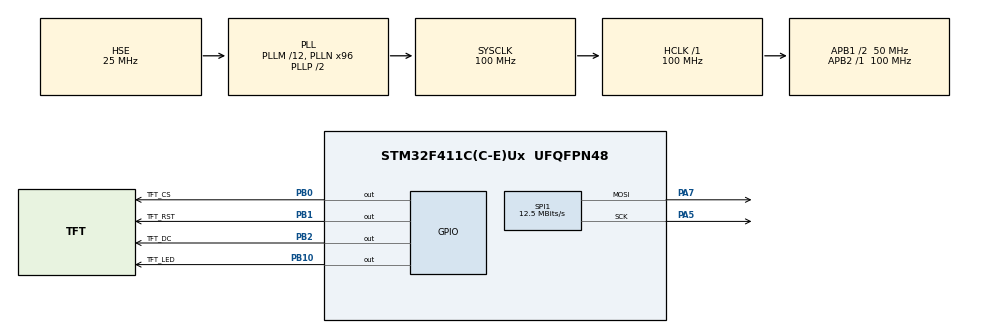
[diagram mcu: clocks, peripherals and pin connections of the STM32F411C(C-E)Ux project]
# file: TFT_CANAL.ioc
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Mcu.Family=STM32F4
Mcu.Name=STM32F411C(C-E)Ux
Mcu.Package=UFQFPN48
NVIC.PriorityGroup=NVIC_PRIORITYGROUP_4
PA5.Mode=TX_Only_Simplex_Unidirect_Master
PA5.Signal=SPI1_SCK
PA7.Mode=TX_Only_Simplex_Unidirect_Master
PA7.Signal=SPI1_MOSI
PB0.GPIO_Label=TFT_CS
PB0.Signal=GPIO_Output
PB1.GPIO_Label=TFT_RST
PB1.Signal=GPIO_Output
PB10.GPIO_Label=TFT_LED
PB10.PinState=GPIO_PIN_SET
PB10.Signal=GPIO_Output
PB2.GPIO_Label=TFT_DC
PB2.Signal=GPIO_Output
PH0\ -\ OSC_IN.Mode=HSE-External-Oscillator
PH0\ -\ OSC_IN.Signal=RCC_OSC_IN
PH1\ -\ OSC_OUT.Mode=HSE-External-Oscillator
PH1\ -\ OSC_OUT.Signal=RCC_OSC_OUT
ProjectManager.HeapSize=0x200
ProjectManager.StackSize=0x400
ProjectManager.TargetToolchain=STM32CubeIDE
RCC.48MHZClocksFreq_Value=50000000
RCC.AHBFreq_Value=100000000
RCC.APB1CLKDivider=RCC_HCLK_DIV2
RCC.APB1Freq_Value=50000000
RCC.APB1TimFreq_Value=100000000
RCC.APB2Freq_Value=100000000
RCC.APB2TimFreq_Value=100000000
RCC.CortexFreq_Value=100000000
RCC.HCLKFreq_Value=100000000
RCC.HSE_VALUE=25000000
RCC.HSI_VALUE=16000000
RCC.LSE_VALUE=32768
RCC.PLLM=12
RCC.PLLN=96
RCC.PLLSourceVirtual=RCC_PLLSOURCE_HSE
RCC.SYSCLKFreq_VALUE=100000000
RCC.SYSCLKSource=RCC_SYSCLKSOURCE_PLLCLK
RCC.VCOOutputFreq_Value=200000000
SPI1.BaudRatePrescaler=SPI_BAUDRATEPRESCALER_8
SPI1.CalculateBaudRate=12.5 MBits/s
SPI1.Direction=SPI_DIRECTION_2LINES
SPI1.Mode=SPI_MODE_MASTER
SPI1.VirtualType=VM_MASTER
board=custom

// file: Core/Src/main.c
/* USER CODE BEGIN Header */
/**
  ******************************************************************************
  * @file           : main.c
  * @brief          : Main program body
  ******************************************************************************
  * @attention
  *
  * Copyright (c) 2025 STMicroelectronics.
  * All rights reserved.
  *
  * This software is licensed under terms that can be found in the LICENSE file
  * in the root directory of this software component.
  * If no LICENSE file comes with this software, it is provided AS-IS.
  *
  ******************************************************************************
  */
/* USER CODE END Header */
#include "main.h"

/* USER CODE BEGIN Includes */
#include "ili9488.h"
#include "fonts.h"
#include "imagenes.h"
#include "DASHBOARD.h"

#include "stdio.h"
#include "stdlib.h"
#include "stdint.h"
#include "string.h"

/* USER CODE END Includes */

SPI_HandleTypeDef hspi1;

/* USER CODE BEGIN PV */
float temp=10.5;
float velo=0;
/* USER CODE END PV */

void SystemClock_Config(void);
static void MX_GPIO_Init(void);
static void MX_SPI1_Init(void);

int main(void)
{

  /* MCU Configuration--------------------------------------------------------*/

  /* Reset of all peripherals, Initializes the Flash interface and the Systick. */
  HAL_Init();

  /* Configure the system clock */
  SystemClock_Config();

  /* Initialize all configured peripherals */
  MX_GPIO_Init();
  MX_SPI1_Init();
  /* USER CODE BEGIN 2 */

   ILI9488_Init();
   setRotation(horizontal);
   fillScreen(COLOR_BLUE);

   draw_string(50, 0, "SUSCRIBANSE", COLOR_WHITE, font2);
   draw_string(20, 100, "AL CANAL", COLOR_RED, font4);
   draw_string_fondo(0, 200, "ALCIDES", COLOR_WHITE,COLOR_BLACK, font5);
//   HAL_Delay(2000);
//   	draw_line(0, 0,100,100, COLOR_BLUEVIOLET,3);
//	HAL_Delay(3000);
//   	fillScreen(COLOR_WHITE);
//
//     draw_fill_rectangle(0,0, 100, 100, COLOR_BLUEVIOLET);
// 	HAL_Delay(3000);
//     fillScreen(COLOR_WHITE);
//
//     draw_rectangle(0,0, 100, 100, COLOR_BLUEVIOLET,3);
// 	HAL_Delay(3000);
//     fillScreen(COLOR_WHITE);
//
//       draw_fill_triangulo(100, 0,50,100, 200, 100, COLOR_BLUE);
//     	HAL_Delay(3000);
//
//       fillScreen(COLOR_WHITE);
//
//
//        draw_circulo(100, 100,50, COLOR_BLUEVIOLET,3);
//       	HAL_Delay(3000);
//        fillScreen(COLOR_WHITE);
//
//
//       	draw_fill_rectangulo_red(0,0, 100, 100, 5,COLOR_BLUEVIOLET);
//       	HAL_Delay(3000);
//
//       	fillScreen(COLOR_WHITE);
//
//       	draw_elipse(120, 80, 50, 30, COLOR_RED, 5);
//       	HAL_Delay(3000);
//
//       	fillScreen(COLOR_WHITE);
//
//       	draw_fill_elipse(120, 80, 50, 30, COLOR_BLUE);
//
  //HAL_Delay(2000);
  // draw_bitmap(300, 0, 1, yo);

   fillScreen(COLOR_BEIGE);

   /* USER CODE END 2 */

  /* Infinite loop */
  /* USER CODE BEGIN WHILE */
  while (1)
  {

     barrav1.value=temp;
     barrah1.value=temp;
     barrav_draw(&barrav1);
     barrah_draw(&barrah1);

      gauge1.value=velo;
      gauge_draw_arc(&gauge1);

	  temp+=2.2;
	  if(temp>50) temp=0;

	  velo+=8;
	  if(velo>100) velo=0;

	  led1.estado=1;
	  led2.estado=0;
	  led_draw(&led1);
	  led_draw1(&led2);
	  HAL_Delay(200);

	      led1.estado=0;
	  	  led2.estado=1;
	  	  led_draw(&led1);
	  	  led_draw1(&led2);
	  	  HAL_Delay(200);

    /* USER CODE END WHILE */

  }
}

void SystemClock_Config(void)
{
  RCC_OscInitTypeDef RCC_OscInitStruct = {0};
  RCC_ClkInitTypeDef RCC_ClkInitStruct = {0};

  /** Configure the main internal regulator output voltage
  */
  __HAL_RCC_PWR_CLK_ENABLE();
  __HAL_PWR_VOLTAGESCALING_CONFIG(PWR_REGULATOR_VOLTAGE_SCALE1);

  /** Initializes the RCC Oscillators according to the specified parameters
  * in the RCC_OscInitTypeDef structure.
  */
  RCC_OscInitStruct.OscillatorType = RCC_OSCILLATORTYPE_HSE;
  RCC_OscInitStruct.HSEState = RCC_HSE_ON;
  RCC_OscInitStruct.PLL.PLLState = RCC_PLL_ON;
  RCC_OscInitStruct.PLL.PLLSource = RCC_PLLSOURCE_HSE;
  RCC_OscInitStruct.PLL.PLLM = 12;
  RCC_OscInitStruct.PLL.PLLN = 96;
  RCC_OscInitStruct.PLL.PLLP = RCC_PLLP_DIV2;
  RCC_OscInitStruct.PLL.PLLQ = 4;
  if (HAL_RCC_OscConfig(&RCC_OscInitStruct) != HAL_OK)
  {
    Error_Handler();
  }

  /** Initializes the CPU, AHB and APB buses clocks
  */
  RCC_ClkInitStruct.ClockType = RCC_CLOCKTYPE_HCLK|RCC_CLOCKTYPE_SYSCLK
                              |RCC_CLOCKTYPE_PCLK1|RCC_CLOCKTYPE_PCLK2;
  RCC_ClkInitStruct.SYSCLKSource = RCC_SYSCLKSOURCE_PLLCLK;
  RCC_ClkInitStruct.AHBCLKDivider = RCC_SYSCLK_DIV1;
  RCC_ClkInitStruct.APB1CLKDivider = RCC_HCLK_DIV2;
  RCC_ClkInitStruct.APB2CLKDivider = RCC_HCLK_DIV1;

  if (HAL_RCC_ClockConfig(&RCC_ClkInitStruct, FLASH_LATENCY_3) != HAL_OK)
  {
    Error_Handler();
  }
}

static void MX_SPI1_Init(void)
{

  /* SPI1 parameter configuration*/
  hspi1.Instance = SPI1;
  hspi1.Init.Mode = SPI_MODE_MASTER;
  hspi1.Init.Direction = SPI_DIRECTION_2LINES;
  hspi1.Init.DataSize = SPI_DATASIZE_8BIT;
  hspi1.Init.CLKPolarity = SPI_POLARITY_LOW;
  hspi1.Init.CLKPhase = SPI_PHASE_1EDGE;
  hspi1.Init.NSS = SPI_NSS_SOFT;
  hspi1.Init.BaudRatePrescaler = SPI_BAUDRATEPRESCALER_8;
  hspi1.Init.FirstBit = SPI_FIRSTBIT_MSB;
  hspi1.Init.TIMode = SPI_TIMODE_DISABLE;
  hspi1.Init.CRCCalculation = SPI_CRCCALCULATION_DISABLE;
  hspi1.Init.CRCPolynomial = 10;
  if (HAL_SPI_Init(&hspi1) != HAL_OK)
  {
    Error_Handler();
  }

}

static void MX_GPIO_Init(void)
{
  GPIO_InitTypeDef GPIO_InitStruct = {0};

  /* GPIO Ports Clock Enable */
  __HAL_RCC_GPIOH_CLK_ENABLE();
  __HAL_RCC_GPIOA_CLK_ENABLE();
  __HAL_RCC_GPIOB_CLK_ENABLE();

  /*Configure GPIO pin Output Level */
  HAL_GPIO_WritePin(GPIOB, TFT_CS_Pin|TFT_RST_Pin|TFT_DC_Pin, GPIO_PIN_RESET);

  /*Configure GPIO pin Output Level */
  HAL_GPIO_WritePin(TFT_LED_GPIO_Port, TFT_LED_Pin, GPIO_PIN_SET);

  /*Configure GPIO pins : TFT_CS_Pin TFT_RST_Pin TFT_DC_Pin TFT_LED_Pin */
  GPIO_InitStruct.Pin = TFT_CS_Pin|TFT_RST_Pin|TFT_DC_Pin|TFT_LED_Pin;
  GPIO_InitStruct.Mode = GPIO_MODE_OUTPUT_PP;
  GPIO_InitStruct.Pull = GPIO_NOPULL;
  GPIO_InitStruct.Speed = GPIO_SPEED_FREQ_LOW;
  HAL_GPIO_Init(GPIOB, &GPIO_InitStruct);

}

void Error_Handler(void)
{
  __disable_irq();
  while (1)
  {
  }
}
